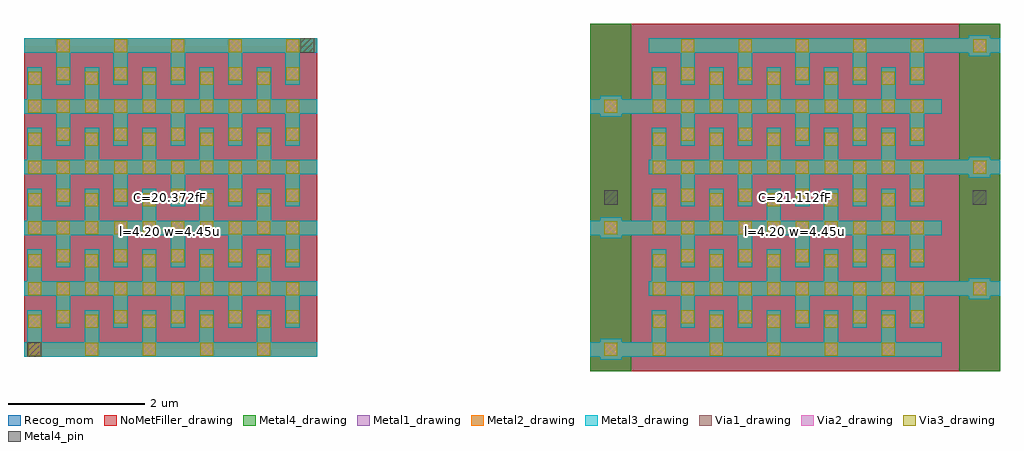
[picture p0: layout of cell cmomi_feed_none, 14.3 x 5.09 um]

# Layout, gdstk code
import gdstk
lib = gdstk.Library(unit=1e-6, precision=1e-09)
def R(c, l, rs):  # rectangles x0, y0, x1, y1
    for r in rs: c.add(gdstk.rectangle(r[:2], r[2:], *l))
def A(c, l, x, y, w, h, nx, ny, dx, dy):  # array of equal rectangles
    R(c, l, [(x+i*dx, y+j*dy, x+i*dx+w, y+j*dy+h) for i in range(nx) for j in range(ny)])
Metal1_drawing = (8, 0)
Metal2_drawing = (10, 0)
Via1_drawing = (19, 0)
Via2_drawing = (29, 0)
Metal3_drawing = (30, 0)
Via3_drawing = (49, 0)
Metal4_drawing = (50, 0)
Metal4_pin = (50, 2)
Recog_mom = (99, 39)
NoMetFiller_drawing = (160, 0)

cmomi_feed_none = lib.new_cell('cmomi_feed_none')
A(cmomi_feed_none, Metal1_drawing, 8.445, -2.38, 0.31, 0.31, 1, 3, 0, 1.78)
A(cmomi_feed_none, Metal1_drawing, 0, -2.33, 4.3, 0.21, 1, 6, 0, 0.89)
A(cmomi_feed_none, Metal1_drawing, 8.3, -2.33, 5.15, 0.21, 1, 3, 0, 1.78)
A(cmomi_feed_none, Metal1_drawing, 0.05, -2.225, 0.21, 0.575, 5, 5, 0.84, 0.89)
A(cmomi_feed_none, Metal1_drawing, 9.2, -2.225, 0.21, 0.575, 5, 5, 0.84, 0.89)
A(cmomi_feed_none, Metal1_drawing, 0.47, -1.91, 0.21, 0.575, 5, 5, 0.84, 0.89)
A(cmomi_feed_none, Metal1_drawing, 9.62, -1.91, 0.21, 0.575, 5, 5, 0.84, 0.89)
A(cmomi_feed_none, Metal1_drawing, 13.845, -1.49, 0.31, 0.31, 1, 3, 0, 1.78)
A(cmomi_feed_none, Metal1_drawing, 9.15, -1.44, 5.15, 0.21, 1, 3, 0, 1.78)
A(cmomi_feed_none, Metal2_drawing, 8.445, -2.38, 0.31, 0.31, 1, 3, 0, 1.78)
A(cmomi_feed_none, Metal2_drawing, 0, -2.33, 4.3, 0.21, 1, 6, 0, 0.89)
A(cmomi_feed_none, Metal2_drawing, 8.3, -2.33, 5.15, 0.21, 1, 3, 0, 1.78)
A(cmomi_feed_none, Metal2_drawing, 0.05, -2.225, 0.21, 0.575, 5, 5, 0.84, 0.89)
A(cmomi_feed_none, Metal2_drawing, 9.2, -2.225, 0.21, 0.575, 5, 5, 0.84, 0.89)
A(cmomi_feed_none, Metal2_drawing, 0.47, -1.91, 0.21, 0.575, 5, 5, 0.84, 0.89)
A(cmomi_feed_none, Metal2_drawing, 9.62, -1.91, 0.21, 0.575, 5, 5, 0.84, 0.89)
A(cmomi_feed_none, Metal2_drawing, 13.845, -1.49, 0.31, 0.31, 1, 3, 0, 1.78)
A(cmomi_feed_none, Metal2_drawing, 9.15, -1.44, 5.15, 0.21, 1, 3, 0, 1.78)
A(cmomi_feed_none, Via1_drawing, 0.06, -2.32, 0.19, 0.19, 5, 2, 0.84, 0.41)
A(cmomi_feed_none, Via1_drawing, 8.505, -2.32, 0.19, 0.19, 1, 3, 0, 1.78)
A(cmomi_feed_none, Via1_drawing, 9.21, -2.32, 0.19, 0.19, 5, 2, 0.84, 0.41)
A(cmomi_feed_none, Via1_drawing, 0.48, -1.84, 0.19, 0.19, 5, 5, 0.84, 0.89)
A(cmomi_feed_none, Via1_drawing, 9.63, -1.84, 0.19, 0.19, 5, 5, 0.84, 0.89)
A(cmomi_feed_none, Via1_drawing, 0.06, -1.43, 0.19, 0.19, 10, 4, 0.42, 0.89)
A(cmomi_feed_none, Via1_drawing, 9.21, -1.43, 0.19, 0.19, 10, 4, 0.42, 0.89)
A(cmomi_feed_none, Via1_drawing, 13.905, -1.43, 0.19, 0.19, 1, 3, 0, 1.78)
A(cmomi_feed_none, Via1_drawing, 0.06, -1.02, 0.19, 0.19, 5, 4, 0.84, 0.89)
A(cmomi_feed_none, Via1_drawing, 9.21, -1.02, 0.19, 0.19, 5, 4, 0.84, 0.89)
A(cmomi_feed_none, Via1_drawing, 0.48, 2.13, 0.19, 0.19, 5, 1, 0.84, 0)
A(cmomi_feed_none, Via1_drawing, 9.63, 2.13, 0.19, 0.19, 5, 1, 0.84, 0)
A(cmomi_feed_none, Via2_drawing, 0.06, -2.32, 0.19, 0.19, 5, 2, 0.84, 0.41)
A(cmomi_feed_none, Via2_drawing, 8.505, -2.32, 0.19, 0.19, 1, 3, 0, 1.78)
A(cmomi_feed_none, Via2_drawing, 9.21, -2.32, 0.19, 0.19, 5, 2, 0.84, 0.41)
A(cmomi_feed_none, Via2_drawing, 0.48, -1.84, 0.19, 0.19, 5, 5, 0.84, 0.89)
A(cmomi_feed_none, Via2_drawing, 9.63, -1.84, 0.19, 0.19, 5, 5, 0.84, 0.89)
A(cmomi_feed_none, Via2_drawing, 0.06, -1.43, 0.19, 0.19, 10, 4, 0.42, 0.89)
A(cmomi_feed_none, Via2_drawing, 9.21, -1.43, 0.19, 0.19, 10, 4, 0.42, 0.89)
A(cmomi_feed_none, Via2_drawing, 13.905, -1.43, 0.19, 0.19, 1, 3, 0, 1.78)
A(cmomi_feed_none, Via2_drawing, 0.06, -1.02, 0.19, 0.19, 5, 4, 0.84, 0.89)
A(cmomi_feed_none, Via2_drawing, 9.21, -1.02, 0.19, 0.19, 5, 4, 0.84, 0.89)
A(cmomi_feed_none, Via2_drawing, 0.48, 2.13, 0.19, 0.19, 5, 1, 0.84, 0)
A(cmomi_feed_none, Via2_drawing, 9.63, 2.13, 0.19, 0.19, 5, 1, 0.84, 0)
A(cmomi_feed_none, Metal3_drawing, 8.445, -2.38, 0.31, 0.31, 1, 3, 0, 1.78)
A(cmomi_feed_none, Metal3_drawing, 0, -2.33, 4.3, 0.21, 1, 6, 0, 0.89)
A(cmomi_feed_none, Metal3_drawing, 8.3, -2.33, 5.15, 0.21, 1, 3, 0, 1.78)
A(cmomi_feed_none, Metal3_drawing, 0.05, -2.225, 0.21, 0.575, 5, 5, 0.84, 0.89)
A(cmomi_feed_none, Metal3_drawing, 9.2, -2.225, 0.21, 0.575, 5, 5, 0.84, 0.89)
A(cmomi_feed_none, Metal3_drawing, 0.47, -1.91, 0.21, 0.575, 5, 5, 0.84, 0.89)
A(cmomi_feed_none, Metal3_drawing, 9.62, -1.91, 0.21, 0.575, 5, 5, 0.84, 0.89)
A(cmomi_feed_none, Metal3_drawing, 13.845, -1.49, 0.31, 0.31, 1, 3, 0, 1.78)
A(cmomi_feed_none, Metal3_drawing, 9.15, -1.44, 5.15, 0.21, 1, 3, 0, 1.78)
A(cmomi_feed_none, Via3_drawing, 0.06, -2.32, 0.19, 0.19, 5, 2, 0.84, 0.41)
A(cmomi_feed_none, Via3_drawing, 8.505, -2.32, 0.19, 0.19, 1, 3, 0, 1.78)
A(cmomi_feed_none, Via3_drawing, 9.21, -2.32, 0.19, 0.19, 5, 2, 0.84, 0.41)
A(cmomi_feed_none, Via3_drawing, 0.48, -1.84, 0.19, 0.19, 5, 5, 0.84, 0.89)
A(cmomi_feed_none, Via3_drawing, 9.63, -1.84, 0.19, 0.19, 5, 5, 0.84, 0.89)
A(cmomi_feed_none, Via3_drawing, 0.06, -1.43, 0.19, 0.19, 10, 4, 0.42, 0.89)
A(cmomi_feed_none, Via3_drawing, 9.21, -1.43, 0.19, 0.19, 10, 4, 0.42, 0.89)
A(cmomi_feed_none, Via3_drawing, 13.905, -1.43, 0.19, 0.19, 1, 3, 0, 1.78)
A(cmomi_feed_none, Via3_drawing, 0.06, -1.02, 0.19, 0.19, 5, 4, 0.84, 0.89)
A(cmomi_feed_none, Via3_drawing, 9.21, -1.02, 0.19, 0.19, 5, 4, 0.84, 0.89)
A(cmomi_feed_none, Via3_drawing, 0.48, 2.13, 0.19, 0.19, 5, 1, 0.84, 0)
A(cmomi_feed_none, Via3_drawing, 9.63, 2.13, 0.19, 0.19, 5, 1, 0.84, 0)
A(cmomi_feed_none, Metal4_drawing, 0, -2.33, 4.3, 0.21, 1, 6, 0, 0.89)
A(cmomi_feed_none, Metal4_drawing, 8.3, -2.33, 5.15, 0.21, 1, 3, 0, 1.78)
A(cmomi_feed_none, Metal4_drawing, 0.05, -2.225, 0.21, 0.575, 5, 5, 0.84, 0.89)
A(cmomi_feed_none, Metal4_drawing, 9.2, -2.225, 0.21, 0.575, 5, 5, 0.84, 0.89)
A(cmomi_feed_none, Metal4_drawing, 0.47, -1.91, 0.21, 0.575, 5, 5, 0.84, 0.89)
A(cmomi_feed_none, Metal4_drawing, 9.62, -1.91, 0.21, 0.575, 5, 5, 0.84, 0.89)
A(cmomi_feed_none, Metal4_drawing, 9.15, -1.44, 5.15, 0.21, 1, 3, 0, 1.78)
R(cmomi_feed_none, Metal4_drawing, [(8.3,-2.545,8.9,2.545), (13.7,-2.545,14.3,2.545)])
R(cmomi_feed_none, Metal4_pin, [(0.05,-2.33,0.25,-2.12), (8.5,-0.105,8.7,0.105), (13.9,-0.105,14.1,0.105), (4.05,2.12,4.25,2.33)])
R(cmomi_feed_none, Recog_mom, [(8.3,-2.545,14.3,2.545), (0,-2.225,4.3,2.225)])
R(cmomi_feed_none, NoMetFiller_drawing, [(8.3,-2.545,14.3,2.545), (0,-2.225,4.3,2.225)])
cmomi_feed_none.add(gdstk.Label('C=20.372fF', (2.15,0), layer=63, texttype=0))
cmomi_feed_none.add(gdstk.Label('cap_cmomi', (2.15,0), layer=63, texttype=0))
cmomi_feed_none.add(gdstk.Label('l=4.20 w=4.45u', (2.15,-0.5), layer=63, texttype=0))
cmomi_feed_none.add(gdstk.Label('C=21.112fF', (11.3,0), layer=63, texttype=0))
cmomi_feed_none.add(gdstk.Label('cap_cmomi', (11.3,0), layer=63, texttype=0))
cmomi_feed_none.add(gdstk.Label('l=4.20 w=4.45u', (11.3,-0.5), layer=63, texttype=0))

lib.write_gds('cmomi_feed_none.gds')
